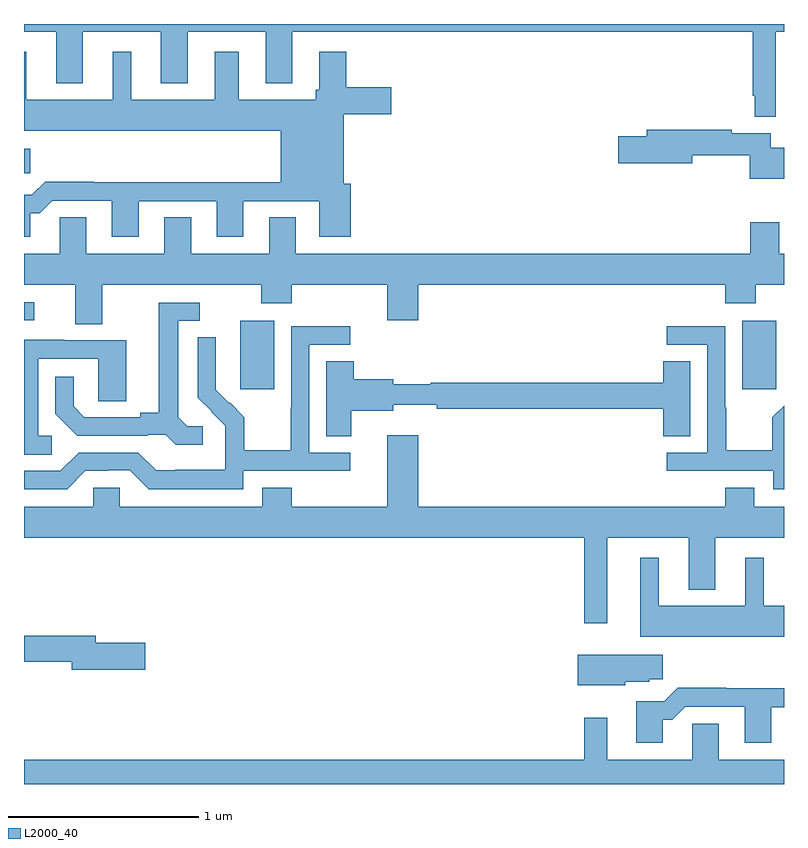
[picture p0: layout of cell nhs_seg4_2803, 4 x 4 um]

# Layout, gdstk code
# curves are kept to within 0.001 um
import gdstk
lib = gdstk.Library(unit=1e-6, precision=1e-09)
def R(c, l, rs):  # rectangles x0, y0, x1, y1
    for r in rs: c.add(gdstk.rectangle(r[:2], r[2:], *l))
def P(c, l, *ps):  # polygons
    for p in ps: c.add(gdstk.Polygon(p, *l))
L2000_40 = (2000, 40)

nhs_seg4_2803 = lib.new_cell('nhs_seg4_2803')
R(nhs_seg4_2803, L2000_40, [(260.138,754.977,260.317,755.338), (262.781,754.977,262.96,755.338), (259,755.34,259.054,755.436), (259,756.115,259.033,756.244)])
P(nhs_seg4_2803, L2000_40, [(262.957,756.86),(263,756.86),(263,756.9),(259,756.9),(259,756.86),(259.169,756.86),(259.169,756.587),(259.309,756.587),(259.309,756.86),(259.721,756.86),(259.721,756.587),(259.861,756.587),(259.861,756.86),(260.273,756.86),(260.273,756.587),(260.413,756.587),(260.413,756.86),(262.836,756.86),(262.836,756.523),(262.846,756.523),(262.846,756.411),(262.957,756.411)],
  [(259.033,755.903),(259.082,755.903),(259.149,755.97),(259.463,755.97),(259.463,755.781),(259.603,755.781),(259.603,755.967),(260.015,755.967),(260.015,755.781),(260.155,755.781),(260.155,755.967),(260.555,755.967),(260.555,755.781),(260.72,755.781),(260.72,756.06),(260.683,756.06),(260.683,756.425),(260.932,756.425),(260.932,756.567),(260.696,756.567),(260.696,756.754),(260.555,756.754),(260.555,756.555),(260.536,756.555),(260.536,756.502),(260.131,756.502),(260.131,756.754),(260.003,756.754),(260.003,756.502),(259.564,756.502),(259.564,756.754),(259.466,756.754),(259.466,756.502),(259.012,756.502),(259.012,756.754),(259,756.754),(259,756.338),(260.351,756.338),(260.351,756.068),(259.367,756.068),(259.367,756.071),(259.112,756.071),(259.042,756.001),(259,756.001),(259,755.781),(259.033,755.781)],
  [(263,756.25),(262.93,756.25),(262.93,756.324),(262.724,756.324),(262.724,756.344),(262.277,756.344),(262.277,756.308),(262.128,756.308),(262.128,756.166),(262.516,756.166),(262.516,756.208),(262.82,756.208),(262.82,756.086),(263,756.086)],
  [(259.411,755.528),(260.248,755.528),(260.248,755.429),(260.408,755.429),(260.408,755.528),(260.912,755.528),(260.912,755.34),(261.076,755.34),(261.076,755.528),(262.691,755.528),(262.691,755.429),(262.851,755.429),(262.851,755.528),(263,755.528),(263,755.692),(262.975,755.692),(262.975,755.857),(262.823,755.857),(262.823,755.692),(260.431,755.692),(260.431,755.882),(260.291,755.882),(260.291,755.692),(259.879,755.692),(259.879,755.882),(259.739,755.882),(259.739,755.692),(259.327,755.692),(259.327,755.882),(259.188,755.882),(259.188,755.692),(259,755.692),(259,755.528),(259.271,755.528),(259.271,755.32),(259.411,755.32)],
  [(259.942,754.782),(259.86,754.782),(259.813,754.829),(259.813,755.337),(259.924,755.337),(259.924,755.433),(259.709,755.433),(259.709,754.853),(259.613,754.853),(259.613,754.83),(259.318,754.83),(259.261,754.887),(259.261,755.044),(259.164,755.044),(259.164,754.85),(259.28,754.734),(259.652,754.734),(259.652,754.737),(259.746,754.737),(259.798,754.685),(259.942,754.685)],
  [(260.154,754.548),(260.716,754.548),(260.716,754.644),(260.502,754.644),(260.502,755.211),(260.716,755.211),(260.716,755.31),(260.406,755.31),(260.406,754.88),(260.404,754.88),(260.404,754.657),(260.159,754.657),(260.159,754.831),(260.082,754.908),(260.079,754.905),(260.009,754.976),(260.01,755.252),(259.914,755.252),(259.914,754.934),(260.06,754.786),(260.06,754.689),(260.058,754.689),(260.058,754.555),(259.795,754.555),(259.795,754.551),(259.695,754.551),(259.602,754.644),(259.287,754.644),(259.191,754.548),(259,754.548),(259,754.452),(259.227,754.452),(259.323,754.548),(259.442,754.548),(259.442,754.551),(259.557,754.551),(259.657,754.451),(260.154,754.451)],
  [(263,754.892),(262.939,754.831),(262.939,754.657),(262.695,754.657),(262.695,754.88),(262.692,754.88),(262.692,755.31),(262.383,755.31),(262.383,755.211),(262.596,755.211),(262.596,754.644),(262.383,754.644),(262.383,754.548),(262.944,754.548),(262.944,754.451),(263,754.451)],
  [(259.147,754.734),(259.074,754.734),(259.074,755.139),(259.392,755.139),(259.392,754.915),(259.537,754.915),(259.537,755.235),(259.213,755.235),(259.213,755.239),(259,755.239),(259,754.633),(259.147,754.633)],
  [(260.722,754.865),(260.944,754.865),(260.944,754.895),(261.172,754.895),(261.172,754.876),(262.364,754.876),(262.364,754.729),(262.507,754.729),(262.507,755.126),(262.364,755.126),(262.364,755.012),(261.14,755.012),(261.14,755.005),(260.944,755.005),(260.944,755.031),(260.735,755.031),(260.735,755.126),(260.591,755.126),(260.591,754.729),(260.722,754.729)],
  [(262.691,754.459),(262.691,754.36),(261.076,754.36),(261.076,754.735),(260.912,754.735),(260.912,754.36),(260.408,754.36),(260.408,754.459),(260.255,754.459),(260.255,754.36),(259.503,754.36),(259.503,754.458),(259.365,754.458),(259.365,754.36),(259,754.36),(259,754.196),(261.948,754.196),(261.948,753.747),(262.069,753.747),(262.069,754.196),(262.499,754.196),(262.499,753.923),(262.639,753.923),(262.639,754.196),(263,754.196),(263,754.36),(262.843,754.36),(262.843,754.459)],
  [(263,753.838),(262.894,753.838),(262.894,754.09),(262.796,754.09),(262.796,753.838),(262.342,753.838),(262.342,754.09),(262.244,754.09),(262.244,753.674),(263,753.674)],
  [(259.639,753.644),(259.378,753.644),(259.378,753.68),(259,753.68),(259,753.544),(259.25,753.544),(259.25,753.502),(259.639,753.502)],
  [(262.164,753.437),(262.29,753.437),(262.29,753.451),(262.363,753.451),(262.363,753.58),(261.914,753.58),(261.914,753.419),(262.164,753.419)],
  [(262.363,753.239),(262.412,753.239),(262.479,753.306),(262.793,753.306),(262.793,753.117),(262.933,753.117),(262.933,753.303),(263,753.303),(263,753.404),(262.697,753.404),(262.697,753.407),(262.442,753.407),(262.371,753.336),(262.223,753.336),(262.223,753.117),(262.363,753.117)],
  [(263,753.028),(262.657,753.028),(262.657,753.218),(262.518,753.218),(262.518,753.028),(262.069,753.028),(262.069,753.25),(261.948,753.25),(261.948,753.028),(259,753.028),(259,752.9),(263,752.9)])

lib.write_gds('nhs_seg4_2803.gds')
